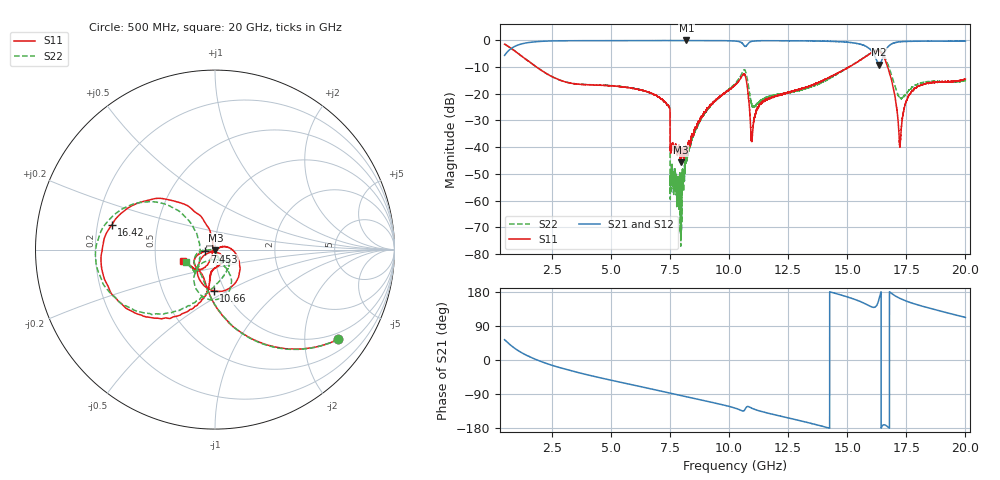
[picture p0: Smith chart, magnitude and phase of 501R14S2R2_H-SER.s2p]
!{501R14S2R2}
!Johanson Technology Inc.
!www.johansontechnology.com
!Test Board Conditions:
!Substrate Type  RO4350B
!Substrate Thickness  20 mil
!Substrate Dk  3.66
!TL Type: GCPW
!TL Trace Width  36 mil
!TL Gap  12 mil
!Electrode orientation  Horizontal
!DUT TOPOLOGY	SERIES
!Mounting Pad LxW  26x36 mil
! Created Wed Mar 11 15:57:25 2020
# mhz S ma R 50
! 2 Port Network Data from SP1.SP block
! freq  magS11  angS11  magS21  angS21  magS12  angS12  magS22  angS22
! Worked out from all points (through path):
!   19501 points, 500 MHz to 20 GHz, reference 50 ohm
!   highest |S21| = -0.04 dB at 8.191 GHz (marker M1); lowest = -9.1 dB at 16.35 GHz (marker M2)
!   group delay of S21, straight-line fit = 37.6 ps
!   lowest |S11| = -45.6 dB at 7.944 GHz (marker M3), VSWR 1.01, Z = 50.3 - j0.458 ohm
!   |S11| at or under -10 dB: 1.852 GHz to 15.08 GHz (13.23 GHz wide, 156 % of centre); 15.07954 GHz to 15.08041 GHz (870.5 kHz wide, 0.00577 % of centre); 16.71 GHz to end of sweep
!   |S22| runs from -77.1 to -1.4 dB; largest |S21 - S12| = 0.018
!   S11 on the Smith chart (normalised r, x): 500 MHz: 0.80, -2.87; 7.453 GHz: 0.89, -0.02; 10.66 GHz: 0.89, -0.43; 16.42 GHz: 0.26, +0.11; 20 GHz: 0.69, -0.09
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500  0.8491 -36.0  0.523 53.6  0.5235 53.6  0.8485 -36.1
1690  0.3563 -84.9  0.9295 5.0  0.9297 4.9  0.3569 -84.6
3750  0.1499 -123.5  0.9842 -35.2  0.984 -35.3  0.1498 -126.8
7000  0.08777 -166.0  0.99 -80.5  0.99 -80.5  0.08758 -171.8
7403  0.06118 -170.4  0.9924 -86.1  0.9921 -86.1  0.06124 -175.6
7453  0.05721 -169.4  0.9921 -86.7  0.9922 -86.7  0.05743 -176.9
7598  0.01094 -92.1  0.9937 -88.8  0.9939 -88.7  0.00303 112.4
7944  0.005247 -60.3  0.9919 -93.5  0.9933 -93.4  0.0007527 25.3
8191  0.009026 -2.3  0.9948 -97.0  0.9924 -96.9  0.005146 -70.3
8912  0.04121 21.9  0.9923 -106.7  0.9929 -106.8  0.03945 -67.8
10250  0.1453 -24.1  0.97 -126.8  0.9689 -126.7  0.1545 -59.1
10657  0.23 -91.7  0.7779 -131.9  0.781 -131.9  0.2824 -96.3
10984  0.01673 -65.1  0.9627 -127.9  0.9608 -127.9  0.058 -105.9
11481  0.07189 -54.4  0.9836 -137.6  0.983 -137.6  0.08124 -50.9
13500  0.1444 -100.6  0.9741 -167.8  0.977 -167.8  0.1358 -61.7
15818  0.51 -131.4  0.7631 146.6  0.765 146.6  0.5108 -135.8
16353  0.6234 175.8  0.3514 162.7  0.3497 163.5  0.6561 176.9
16417  0.5917 166.5  0.3784 177.0  0.3757 177.9  0.6332 168.2
16750  0.28 121.3  0.7797 -178.1  0.7754 -177.3  0.3272 134.9
17237  0.01086 -167.7  0.9403 162.4  0.9382 162.5  0.08509 175.0
17910  0.1286 -123.0  0.9634 146.8  0.9595 146.7  0.1453 -133.3
20000  0.188 -160.7  0.9653 112.3  0.9617 112.6  0.1767 -157.4
